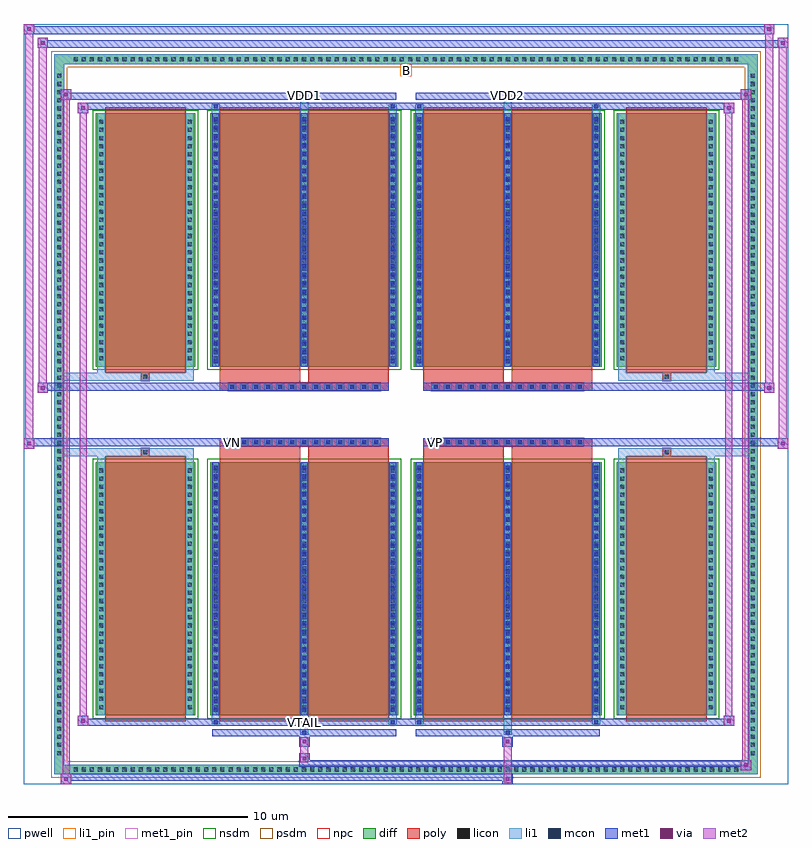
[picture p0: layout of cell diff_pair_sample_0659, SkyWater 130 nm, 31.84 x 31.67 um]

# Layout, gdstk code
import gdstk
lib = gdstk.Library(unit=1e-6, precision=5e-09)
def R(c, l, rs):  # rectangles x0, y0, x1, y1
    for r in rs: c.add(gdstk.rectangle(r[:2], r[2:], *l))
def A(c, l, x, y, w, h, nx, ny, dx, dy):  # array of equal rectangles
    R(c, l, [(x+i*dx, y+j*dy, x+i*dx+w, y+j*dy+h) for i in range(nx) for j in range(ny)])
def P(c, l, *ps):  # polygons
    for p in ps: c.add(gdstk.Polygon(p, *l))
pwell = (64, 44)
diff = (65, 20)
poly = (66, 20)
licon = (66, 44)
li1_pin = (67, 16)
li1 = (67, 20)
mcon = (67, 44)
met1_pin = (68, 16)
met1 = (68, 20)
via = (68, 44)
met2 = (69, 20)
nsdm = (93, 44)
psdm = (94, 20)
npc = (95, 20)

diff_pair_sample_0659 = lib.new_cell('diff_pair_sample_0659')
R(diff_pair_sample_0659, pwell, [(-15.92,-15.4,15.92,16.27), (-13.24,-13.59,-0.01,-0.795), (0.01,-13.59,13.24,-0.795), (-13.24,0.795,-0.01,13.59), (0.01,0.795,13.24,13.59)])
A(diff_pair_sample_0659, diff, -13.975, -15, 0.41, 0.41, 82, 2, 0.34, 29.59)
A(diff_pair_sample_0659, diff, -14.65, -14.315, 0.41, 0.41, 1, 84, 0, 0.34)
A(diff_pair_sample_0659, diff, 14.24, -14.315, 0.41, 0.41, 1, 84, 0, 0.34)
R(diff_pair_sample_0659, diff, [(-13.975,-15,13.975,-14.59), (-14.65,-14.315,-14.24,14.315), (14.24,-14.315,14.65,14.315), (-12.93,-12.545,-8.79,-1.985), (-8.15,-12.545,-0.32,-1.985), (0.32,-12.545,8.15,-1.985), (8.79,-12.545,12.93,-1.985), (-12.93,1.985,-8.79,12.545), (-8.15,1.985,-0.32,12.545), (0.32,1.985,8.15,12.545), (8.79,1.985,12.93,12.545), (-13.975,14.59,13.975,15)])
P(diff_pair_sample_0659, diff, [(14.65,15),(-14.65,15),(-14.65,-14.59),(-14.24,-14.59),(-14.24,14.59),(14.24,14.59),(14.24,-14.59),(-14.24,-14.59),(-14.65,-14.59),(-14.65,-15),(14.65,-15)])
A(diff_pair_sample_0659, poly, -7.4, -1.325, 0.33, 0.33, 13, 2, 0.5, 2.32)
A(diff_pair_sample_0659, poly, 1.07, -1.325, 0.33, 0.33, 13, 2, 0.5, 2.32)
R(diff_pair_sample_0659, poly, [(-12.54,-12.795,-9.18,-1.735), (-7.76,-12.795,-4.4,-1.735), (-4.07,-12.795,-0.71,-1.735), (0.71,-12.795,4.07,-1.735), (4.4,-12.795,7.76,-1.735), (9.18,-12.795,12.54,-1.735), (-11.025,-1.735,-10.695,-1.405), (-11.025,-1.735,-10.695,-1.405), (-7.76,-1.735,-4.4,-1.325), (-4.07,-1.735,-0.71,-1.325), (0.71,-1.735,4.07,-1.325), (4.4,-1.735,7.76,-1.325), (10.695,-1.735,11.025,-1.405), (10.695,-1.735,11.025,-1.405), (-7.76,-1.325,-0.71,-0.995), (0.71,-1.325,7.76,-0.995), (-7.76,0.995,-0.71,1.325), (0.71,0.995,7.76,1.325), (-7.76,1.325,-4.4,1.735), (-4.07,1.325,-0.71,1.735), (0.71,1.325,4.07,1.735), (4.4,1.325,7.76,1.735), (-11.025,1.405,-10.695,1.735), (-11.025,1.405,-10.695,1.735), (10.695,1.405,11.025,1.735), (10.695,1.405,11.025,1.735), (-12.54,1.735,-9.18,12.795), (-7.76,1.735,-4.4,12.795), (-4.07,1.735,-0.71,12.795), (0.71,1.735,4.07,12.795), (4.4,1.735,7.76,12.795), (9.18,1.735,12.54,12.795)])
A(diff_pair_sample_0659, licon, -13.855, -14.88, 0.17, 0.17, 82, 2, 0.34, 29.59)
A(diff_pair_sample_0659, licon, -14.53, -14.195, 0.17, 0.17, 1, 84, 0, 0.34)
A(diff_pair_sample_0659, licon, 14.36, -14.195, 0.17, 0.17, 1, 84, 0, 0.34)
A(diff_pair_sample_0659, licon, -12.79, -12.28, 0.17, 0.17, 1, 30, 0, 0.34)
A(diff_pair_sample_0659, licon, -9.1, -12.28, 0.17, 0.17, 1, 30, 0, 0.34)
A(diff_pair_sample_0659, licon, -8.01, -12.28, 0.17, 0.17, 3, 30, 3.69, 0.34)
A(diff_pair_sample_0659, licon, 0.46, -12.28, 0.17, 0.17, 3, 30, 3.69, 0.34)
A(diff_pair_sample_0659, licon, 8.93, -12.28, 0.17, 0.17, 1, 30, 0, 0.34)
A(diff_pair_sample_0659, licon, 12.62, -12.28, 0.17, 0.17, 1, 30, 0, 0.34)
A(diff_pair_sample_0659, licon, -7.32, -1.245, 0.17, 0.17, 13, 2, 0.5, 2.32)
A(diff_pair_sample_0659, licon, 1.15, -1.245, 0.17, 0.17, 13, 2, 0.5, 2.32)
A(diff_pair_sample_0659, licon, -12.79, 2.25, 0.17, 0.17, 1, 30, 0, 0.34)
A(diff_pair_sample_0659, licon, -9.1, 2.25, 0.17, 0.17, 1, 30, 0, 0.34)
A(diff_pair_sample_0659, licon, -8.01, 2.25, 0.17, 0.17, 3, 30, 3.69, 0.34)
A(diff_pair_sample_0659, licon, 0.46, 2.25, 0.17, 0.17, 3, 30, 3.69, 0.34)
A(diff_pair_sample_0659, licon, 8.93, 2.25, 0.17, 0.17, 1, 30, 0, 0.34)
A(diff_pair_sample_0659, licon, 12.62, 2.25, 0.17, 0.17, 1, 30, 0, 0.34)
R(diff_pair_sample_0659, licon, [(-10.945,-1.655,-10.775,-1.485), (10.775,-1.655,10.945,-1.485), (-10.945,1.485,-10.775,1.655), (10.775,1.485,10.945,1.655)])
R(diff_pair_sample_0659, li1_pin, [(-0.25,14.09,0.25,14.59)])
A(diff_pair_sample_0659, li1, -13.935, -14.96, 0.33, 0.33, 82, 2, 0.34, 29.59)
A(diff_pair_sample_0659, li1, -14.61, -14.275, 0.33, 0.33, 1, 84, 0, 0.34)
A(diff_pair_sample_0659, li1, 14.28, -14.275, 0.33, 0.33, 1, 84, 0, 0.34)
A(diff_pair_sample_0659, li1, -8.09, -12.545, 0.33, 10.56, 3, 2, 3.69, 14.53)
A(diff_pair_sample_0659, li1, 0.38, -12.545, 0.33, 10.56, 3, 2, 3.69, 14.53)
A(diff_pair_sample_0659, li1, -8.01, -12.39, 0.17, 0.17, 3, 29, 3.69, 0.36)
A(diff_pair_sample_0659, li1, -8.01, -12.39, 0.17, 10.25, 3, 2, 3.69, 14.53)
A(diff_pair_sample_0659, li1, 0.46, -12.39, 0.17, 0.17, 3, 29, 3.69, 0.36)
A(diff_pair_sample_0659, li1, 0.46, -12.39, 0.17, 10.25, 3, 2, 3.69, 14.53)
A(diff_pair_sample_0659, li1, -12.87, -12.36, 0.33, 0.33, 1, 30, 0, 0.34)
A(diff_pair_sample_0659, li1, -9.18, -12.36, 0.33, 0.33, 1, 30, 0, 0.34)
A(diff_pair_sample_0659, li1, -8.09, -12.36, 0.33, 0.33, 3, 30, 3.69, 0.34)
A(diff_pair_sample_0659, li1, 0.38, -12.36, 0.33, 0.33, 3, 30, 3.69, 0.34)
A(diff_pair_sample_0659, li1, 8.85, -12.36, 0.33, 0.33, 1, 30, 0, 0.34)
A(diff_pair_sample_0659, li1, 12.54, -12.36, 0.33, 0.33, 1, 30, 0, 0.34)
A(diff_pair_sample_0659, li1, -7.4, -1.325, 0.33, 0.33, 13, 2, 0.5, 2.32)
A(diff_pair_sample_0659, li1, 1.07, -1.325, 0.33, 0.33, 13, 2, 0.5, 2.32)
A(diff_pair_sample_0659, li1, -8.01, 2.14, 0.17, 0.17, 3, 29, 3.69, 0.36)
A(diff_pair_sample_0659, li1, 0.46, 2.14, 0.17, 0.17, 3, 29, 3.69, 0.36)
A(diff_pair_sample_0659, li1, -12.87, 2.17, 0.33, 0.33, 1, 30, 0, 0.34)
A(diff_pair_sample_0659, li1, -9.18, 2.17, 0.33, 0.33, 1, 30, 0, 0.34)
A(diff_pair_sample_0659, li1, -8.09, 2.17, 0.33, 0.33, 3, 30, 3.69, 0.34)
A(diff_pair_sample_0659, li1, 0.38, 2.17, 0.33, 0.33, 3, 30, 3.69, 0.34)
A(diff_pair_sample_0659, li1, 8.85, 2.17, 0.33, 0.33, 1, 30, 0, 0.34)
A(diff_pair_sample_0659, li1, 12.54, 2.17, 0.33, 0.33, 1, 30, 0, 0.34)
R(diff_pair_sample_0659, li1, [(-14.65,-15,-14.24,-14.59), (-14.65,-15,-14.24,-14.59), (-14.24,-15,14.24,-14.59), (14.24,-15,14.65,-14.59), (14.24,-15,14.65,-14.59), (-14.65,-14.59,-14.24,14.59), (14.24,-14.59,14.65,14.59), (-4.4,-13.35,-4.07,-12.545), (-4.32,-13.35,-4.15,-13.18), (4.07,-13.35,4.4,-12.545), (4.15,-13.35,4.32,-13.18), (-8.09,-12.92,-7.76,-12.545), (-8.01,-12.92,-7.84,-12.75), (-0.71,-12.92,-0.38,-12.545), (-0.63,-12.92,-0.46,-12.75), (0.38,-12.92,0.71,-12.545), (0.46,-12.92,0.63,-12.75), (7.76,-12.92,8.09,-12.545), (7.84,-12.92,8.01,-12.75), (-12.87,-12.545,-12.54,-1.985), (-9.18,-12.545,-8.85,-1.985), (8.85,-12.545,9.18,-1.985), (12.54,-12.545,12.87,-1.985), (-12.87,-1.985,-12.54,-1.405), (-9.18,-1.985,-8.85,-1.405), (8.85,-1.985,9.18,-1.405), (12.54,-1.985,12.87,-1.405), (-14.65,-1.735,-11.025,-1.405), (-12.87,-1.735,-11.025,-1.405), (-11.025,-1.735,-10.695,-1.405), (-10.695,-1.735,-8.85,-1.405), (8.85,-1.735,10.695,-1.405), (10.695,-1.735,11.025,-1.405), (10.695,-1.735,14.65,-1.405), (11.025,-1.735,12.87,-1.405), (-14.65,1.405,-11.025,1.735), (-12.87,1.405,-11.025,1.735), (-12.87,1.405,-12.54,1.985), (-11.025,1.405,-10.695,1.735), (-10.695,1.405,-8.85,1.735), (-9.18,1.405,-8.85,1.985), (8.85,1.405,10.695,1.735), (8.85,1.405,9.18,1.985), (10.695,1.405,11.025,1.735), (10.695,1.405,14.65,1.735), (11.025,1.405,12.87,1.735), (12.54,1.405,12.87,1.985), (-12.87,1.985,-12.54,12.545), (-9.18,1.985,-8.85,12.545), (8.85,1.985,9.18,12.545), (12.54,1.985,12.87,12.545), (-8.09,12.545,-7.76,12.92), (-4.4,12.545,-4.07,13.35), (-0.71,12.545,-0.38,12.92), (0.38,12.545,0.71,12.92), (4.07,12.545,4.4,13.35), (7.76,12.545,8.09,12.92), (-8.01,12.75,-7.84,12.92), (-0.63,12.75,-0.46,12.92), (0.46,12.75,0.63,12.92), (7.84,12.75,8.01,12.92), (-4.32,13.18,-4.15,13.35), (4.15,13.18,4.32,13.35), (-14.65,14.59,-14.24,15), (-14.65,14.59,-14.24,15), (-14.24,14.59,14.24,15), (14.24,14.59,14.65,15), (14.24,14.59,14.65,15)])
A(diff_pair_sample_0659, mcon, -8.01, -12.39, 0.17, 0.17, 3, 29, 3.69, 0.36)
A(diff_pair_sample_0659, mcon, 0.46, -12.39, 0.17, 0.17, 3, 29, 3.69, 0.36)
A(diff_pair_sample_0659, mcon, -7.32, -1.245, 0.17, 0.17, 13, 2, 0.5, 2.32)
A(diff_pair_sample_0659, mcon, 1.15, -1.245, 0.17, 0.17, 13, 2, 0.5, 2.32)
A(diff_pair_sample_0659, mcon, -8.01, 2.14, 0.17, 0.17, 3, 29, 3.69, 0.36)
A(diff_pair_sample_0659, mcon, 0.46, 2.14, 0.17, 0.17, 3, 29, 3.69, 0.36)
R(diff_pair_sample_0659, mcon, [(-4.32,-13.35,-4.15,-13.18), (4.15,-13.35,4.32,-13.18), (-8.01,-12.92,-7.84,-12.75), (-0.63,-12.92,-0.46,-12.75), (0.46,-12.92,0.63,-12.75), (7.84,-12.92,8.01,-12.75), (-8.01,12.75,-7.84,12.92), (-0.63,12.75,-0.46,12.92), (0.46,12.75,0.63,12.92), (7.84,12.75,8.01,12.92), (-4.32,13.18,-4.15,13.35), (4.15,13.18,4.32,13.35)])
R(diff_pair_sample_0659, met1_pin, [(-4.37,-12.96,-4.1,-12.69), (-7.37,-1.285,-7.1,-1.015), (1.1,-1.285,1.37,-1.015), (-4.37,13.14,-4.1,13.41), (4.1,13.14,4.37,13.41)])
A(diff_pair_sample_0659, met1, -8.07, -12.545, 0.29, 10.56, 3, 2, 3.69, 14.53)
A(diff_pair_sample_0659, met1, 0.4, -12.545, 0.29, 10.56, 3, 2, 3.69, 14.53)
A(diff_pair_sample_0659, met1, -8.07, -12.45, 0.29, 0.29, 3, 29, 3.69, 0.36)
A(diff_pair_sample_0659, met1, 0.4, -12.45, 0.29, 0.29, 3, 29, 3.69, 0.36)
A(diff_pair_sample_0659, met1, -7.38, -1.305, 0.29, 0.29, 13, 2, 0.5, 2.32)
A(diff_pair_sample_0659, met1, 1.09, -1.305, 0.29, 0.29, 13, 2, 0.5, 2.32)
A(diff_pair_sample_0659, met1, -8.07, 2.08, 0.29, 0.29, 3, 29, 3.69, 0.36)
A(diff_pair_sample_0659, met1, 0.4, 2.08, 0.29, 0.29, 3, 29, 3.69, 0.36)
R(diff_pair_sample_0659, met1, [(-14.38,-15.4,-13.95,-14.97), (4.02,-15.4,4.45,-14.97), (-14.38,-15.26,4.45,-14.97), (13.95,-14.83,14.38,-14.4), (-4.45,-14.69,14.38,-14.4), (-4.45,-14.55,-4.02,-14.12), (-4.45,-13.84,-4.02,-13.41), (4.02,-13.84,4.45,-13.41), (-8.07,-13.41,-0.4,-13.12), (-4.38,-13.41,-4.09,-13.12), (0.4,-13.41,8.07,-13.12), (4.09,-13.41,4.38,-13.12), (-13.67,-12.98,-13.24,-12.55), (-13.67,-12.98,-8.07,-12.69), (-8.07,-12.98,-7.78,-12.69), (-8.07,-12.98,-0.4,-12.69), (-0.69,-12.98,-0.4,-12.69), (-0.4,-12.98,0.4,-12.69), (0.4,-12.98,0.69,-12.69), (0.4,-12.98,8.07,-12.69), (7.78,-12.98,8.07,-12.69), (8.07,-12.98,13.67,-12.69), (13.24,-12.98,13.67,-12.55), (-15.92,-1.425,-15.49,-0.995), (15.49,-1.425,15.92,-0.995), (-15.92,-1.325,-0.71,-0.995), (-7.76,-1.325,-0.71,-0.995), (0.71,-1.325,7.76,-0.995), (0.71,-1.325,15.92,-0.995), (-15.35,0.895,-14.92,1.325), (14.92,0.895,15.35,1.325), (-15.35,0.995,-7.76,1.325), (-7.76,0.995,-0.71,1.325), (0.71,0.995,7.76,1.325), (7.76,0.995,15.35,1.325), (-13.67,12.55,-13.24,12.98), (13.24,12.55,13.67,12.98), (-13.67,12.69,-8.07,12.98), (-8.07,12.69,-7.78,12.98), (-8.07,12.69,-0.4,12.98), (-0.69,12.69,-0.4,12.98), (-0.4,12.69,0.4,12.98), (0.4,12.69,0.69,12.98), (0.4,12.69,8.07,12.98), (7.78,12.69,8.07,12.98), (8.07,12.69,13.67,12.98), (-14.38,13.12,-13.95,13.55), (-14.38,13.12,-8.07,13.41), (-8.07,13.12,-0.4,13.41), (-4.38,13.12,-4.09,13.41), (0.4,13.12,8.07,13.41), (4.09,13.12,4.38,13.41), (8.07,13.12,14.38,13.41), (13.95,13.12,14.38,13.55), (-15.35,15.27,-14.92,15.7), (-15.35,15.27,-13.24,15.6), (-13.24,15.27,13.24,15.6), (13.24,15.27,15.92,15.6), (15.49,15.27,15.92,15.7), (-15.92,15.84,-15.49,16.27), (-15.92,15.84,-13.24,16.17), (-13.24,15.84,13.24,16.17), (13.24,15.84,15.35,16.17), (14.92,15.84,15.35,16.27)])
R(diff_pair_sample_0659, via, [(-14.24,-15.26,-14.09,-15.11), (4.16,-15.26,4.31,-15.11), (14.09,-14.69,14.24,-14.54), (-4.31,-14.41,-4.16,-14.26), (-4.31,-13.7,-4.16,-13.55), (4.16,-13.7,4.31,-13.55), (-13.53,-12.84,-13.38,-12.69), (13.38,-12.84,13.53,-12.69), (-15.78,-1.285,-15.63,-1.135), (15.63,-1.285,15.78,-1.135), (-15.21,1.035,-15.06,1.185), (15.06,1.035,15.21,1.185), (-13.53,12.69,-13.38,12.84), (13.38,12.69,13.53,12.84), (-14.24,13.26,-14.09,13.41), (14.09,13.26,14.24,13.41), (-15.21,15.41,-15.06,15.56), (15.63,15.41,15.78,15.56), (-15.78,15.98,-15.63,16.13), (15.06,15.98,15.21,16.13)])
R(diff_pair_sample_0659, met2, [(-14.38,-15.4,-13.95,-14.97), (-14.31,-15.4,-14.02,13.55), (-14.02,-15.4,-13.95,-14.97), (-14.33,-15.35,-14,-15.02), (4.07,-15.35,4.4,-15.02), (4.07,-15.02,4.4,-13.79), (13.95,-14.83,14.38,-14.4), (14.02,-14.83,14.31,13.55), (14.31,-14.83,14.38,-14.4), (14,-14.78,14.33,-14.45), (-4.4,-14.5,-4.07,-14.17), (-4.4,-14.17,-4.07,-13.79), (-4.4,-13.79,-4.07,-13.46), (4.07,-13.79,4.4,-13.46), (-13.67,-12.98,-13.24,-12.55), (-13.6,-12.98,-13.31,12.98), (-13.31,-12.98,-13.24,-12.55), (13.24,-12.98,13.67,-12.55), (13.31,-12.98,13.6,12.98), (13.6,-12.98,13.67,-12.55), (-13.62,-12.93,-13.29,-12.6), (13.29,-12.93,13.62,-12.6), (-15.92,-1.425,-15.49,-0.995), (-15.87,-1.425,-15.54,16.27), (-15.54,-1.425,-15.49,-0.995), (15.49,-1.425,15.92,-0.995), (15.54,-1.425,15.87,15.7), (15.87,-1.425,15.92,-0.995), (-15.87,-1.375,-15.54,-1.045), (15.54,-1.375,15.87,-1.045), (-15.35,0.895,-14.92,1.325), (-15.3,0.895,-14.97,15.7), (-14.97,0.895,-14.92,1.325), (14.92,0.895,15.35,1.325), (14.97,0.895,15.3,16.27), (15.3,0.895,15.35,1.325), (-15.3,0.945,-14.97,1.275), (14.97,0.945,15.3,1.275), (-13.67,12.55,-13.24,12.98), (-13.31,12.55,-13.24,12.98), (13.24,12.55,13.67,12.98), (13.6,12.55,13.67,12.98), (-13.62,12.6,-13.29,12.93), (13.29,12.6,13.62,12.93), (-14.38,13.12,-13.95,13.55), (-14.02,13.12,-13.95,13.55), (13.95,13.12,14.38,13.55), (14.31,13.12,14.38,13.55), (-14.33,13.17,-14,13.5), (14,13.17,14.33,13.5), (-15.35,15.27,-14.92,15.7), (-14.97,15.27,-14.92,15.7), (15.49,15.27,15.92,15.7), (15.87,15.27,15.92,15.7), (-15.3,15.32,-14.97,15.65), (15.54,15.32,15.87,15.65), (-15.92,15.84,-15.49,16.27), (-15.54,15.84,-15.49,16.27), (14.92,15.84,15.35,16.27), (15.3,15.84,15.35,16.27), (-15.87,15.89,-15.54,16.22), (14.97,15.89,15.3,16.22)])
R(diff_pair_sample_0659, nsdm, [(-13.06,-12.675,-8.66,-1.855), (-8.28,-12.675,-0.19,-1.855), (0.19,-12.675,8.28,-1.855), (8.66,-12.675,13.06,-1.855), (-13.06,1.855,-8.66,12.675), (-8.28,1.855,-0.19,12.675), (0.19,1.855,8.28,12.675), (8.66,1.855,13.06,12.675)])
P(diff_pair_sample_0659, psdm, [(14.78,15.13),(-14.78,15.13),(-14.78,-14.46),(-14.11,-14.46),(-14.11,14.46),(14.11,14.46),(14.11,-14.46),(-14.11,-14.46),(-14.78,-14.46),(-14.78,-15.13),(14.78,-15.13)])
A(diff_pair_sample_0659, npc, -7.42, -1.345, 0.37, 0.37, 13, 2, 0.5, 2.32)
A(diff_pair_sample_0659, npc, 1.05, -1.345, 0.37, 0.37, 13, 2, 0.5, 2.32)
R(diff_pair_sample_0659, npc, [(-11.045,-1.755,-10.675,-1.385), (10.675,-1.755,11.045,-1.385), (-7.42,-1.345,-6.55,-0.975), (-7.42,-1.345,-6.55,-0.975), (-6.92,-1.345,-6.05,-0.975), (-6.92,-1.345,-6.05,-0.975), (-6.42,-1.345,-5.55,-0.975), (-6.42,-1.345,-5.55,-0.975), (-5.92,-1.345,-5.05,-0.975), (-5.92,-1.345,-5.05,-0.975), (-5.42,-1.345,-4.55,-0.975), (-5.42,-1.345,-4.55,-0.975), (-4.92,-1.345,-4.05,-0.975), (-4.92,-1.345,-4.05,-0.975), (-4.42,-1.345,-3.55,-0.975), (-4.42,-1.345,-3.55,-0.975), (-3.92,-1.345,-3.05,-0.975), (-3.92,-1.345,-3.05,-0.975), (-3.42,-1.345,-2.55,-0.975), (-3.42,-1.345,-2.55,-0.975), (-2.92,-1.345,-2.05,-0.975), (-2.92,-1.345,-2.05,-0.975), (-2.42,-1.345,-1.55,-0.975), (-2.42,-1.345,-1.55,-0.975), (-1.92,-1.345,-1.05,-0.975), (-1.92,-1.345,-1.05,-0.975), (1.05,-1.345,1.92,-0.975), (1.05,-1.345,1.92,-0.975), (1.55,-1.345,2.42,-0.975), (1.55,-1.345,2.42,-0.975), (2.05,-1.345,2.92,-0.975), (2.05,-1.345,2.92,-0.975), (2.55,-1.345,3.42,-0.975), (2.55,-1.345,3.42,-0.975), (3.05,-1.345,3.92,-0.975), (3.05,-1.345,3.92,-0.975), (3.55,-1.345,4.42,-0.975), (3.55,-1.345,4.42,-0.975), (4.05,-1.345,4.92,-0.975), (4.05,-1.345,4.92,-0.975), (4.55,-1.345,5.42,-0.975), (4.55,-1.345,5.42,-0.975), (5.05,-1.345,5.92,-0.975), (5.05,-1.345,5.92,-0.975), (5.55,-1.345,6.42,-0.975), (5.55,-1.345,6.42,-0.975), (6.05,-1.345,6.92,-0.975), (6.05,-1.345,6.92,-0.975), (6.55,-1.345,7.42,-0.975), (6.55,-1.345,7.42,-0.975), (-7.42,0.975,-6.55,1.345), (-7.42,0.975,-6.55,1.345), (-6.92,0.975,-6.05,1.345), (-6.92,0.975,-6.05,1.345), (-6.42,0.975,-5.55,1.345), (-6.42,0.975,-5.55,1.345), (-5.92,0.975,-5.05,1.345), (-5.92,0.975,-5.05,1.345), (-5.42,0.975,-4.55,1.345), (-5.42,0.975,-4.55,1.345), (-4.92,0.975,-4.05,1.345), (-4.92,0.975,-4.05,1.345), (-4.42,0.975,-3.55,1.345), (-4.42,0.975,-3.55,1.345), (-3.92,0.975,-3.05,1.345), (-3.92,0.975,-3.05,1.345), (-3.42,0.975,-2.55,1.345), (-3.42,0.975,-2.55,1.345), (-2.92,0.975,-2.05,1.345), (-2.92,0.975,-2.05,1.345), (-2.42,0.975,-1.55,1.345), (-2.42,0.975,-1.55,1.345), (-1.92,0.975,-1.05,1.345), (-1.92,0.975,-1.05,1.345), (1.05,0.975,1.92,1.345), (1.05,0.975,1.92,1.345), (1.55,0.975,2.42,1.345), (1.55,0.975,2.42,1.345), (2.05,0.975,2.92,1.345), (2.05,0.975,2.92,1.345), (2.55,0.975,3.42,1.345), (2.55,0.975,3.42,1.345), (3.05,0.975,3.92,1.345), (3.05,0.975,3.92,1.345), (3.55,0.975,4.42,1.345), (3.55,0.975,4.42,1.345), (4.05,0.975,4.92,1.345), (4.05,0.975,4.92,1.345), (4.55,0.975,5.42,1.345), (4.55,0.975,5.42,1.345), (5.05,0.975,5.92,1.345), (5.05,0.975,5.92,1.345), (5.55,0.975,6.42,1.345), (5.55,0.975,6.42,1.345), (6.05,0.975,6.92,1.345), (6.05,0.975,6.92,1.345), (6.55,0.975,7.42,1.345), (6.55,0.975,7.42,1.345), (-11.045,1.385,-10.675,1.755), (10.675,1.385,11.045,1.755)])
diff_pair_sample_0659.add(gdstk.Label('VTAIL', (-4.235,-12.825), layer=68, texttype=5))
diff_pair_sample_0659.add(gdstk.Label('VN', (-7.235,-1.15), layer=68, texttype=5))
diff_pair_sample_0659.add(gdstk.Label('VP', (1.235,-1.15), layer=68, texttype=5))
diff_pair_sample_0659.add(gdstk.Label('B', (0,14.34), layer=67, texttype=5))
diff_pair_sample_0659.add(gdstk.Label('VDD2', (4.235,13.275), layer=68, texttype=5))
diff_pair_sample_0659.add(gdstk.Label('VDD1', (-4.235,13.275), layer=68, texttype=5))

lib.write_gds('diff_pair_sample_0659.gds')
